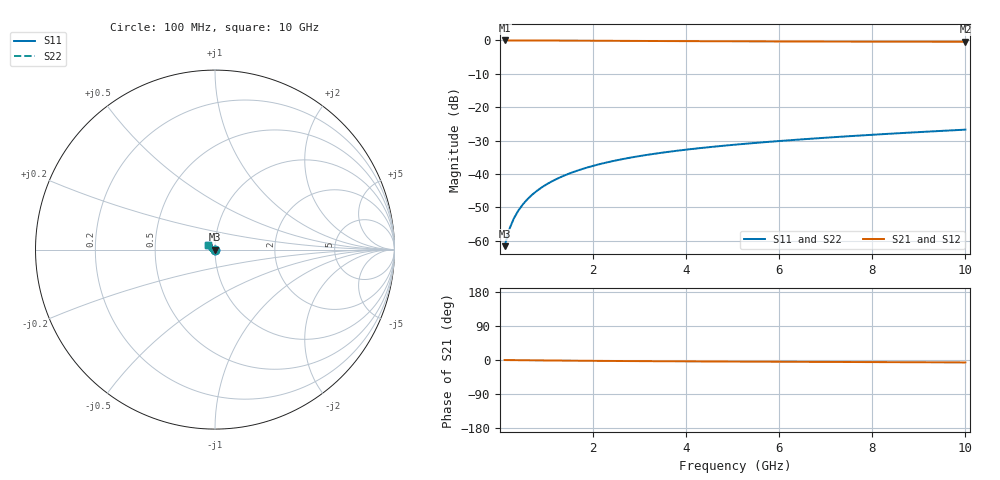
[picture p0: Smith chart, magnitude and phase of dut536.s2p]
! Touchstone file exported from HFSS 2024.1.0
!  File:  C:/UserFiles/LocalFiles/RDL_TSV_Batchsim/temp_TSV1_536_1779704960.aedt
!  Generated:  06:37:05 PM May 25, 2026
!  Design:  TSV1
!  Project:  temp_TSV1_536_1779704960
!  Setup:  Setup1
!  Solution:  Sweep
! Variables:
!  dtsv = 5.99um
!  hbump = 3um
!  htsv = 97.45um
!  lrdl = 252.1521522um
!  p = 40
!  p1 = 51.37um
!  t = 500um
!  trdl = 3um
!  wrdl = 24.89489489um
# GHz S MA R 50.000000
! Terminal data exported
! Port[1] = TSV22_T1
! Port[2] = TSV22_T2
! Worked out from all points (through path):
!   100 points, 100 MHz to 10 GHz, reference 50 ohm
!   highest |S21| = 0.00 dB at 100 MHz (marker M1); lowest = -0.4 dB at 10 GHz (marker M2)
!   lowest |S11| = -61.6 dB at 100 MHz (marker M3), VSWR 1.00, Z = 50 - j0.072 ohm
!   |S11| at or under -10 dB: start of sweep to end of sweep
!   |S22| runs from -61.6 to -26.7 dB; largest |S21 - S12| = 5.1e-15
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0.1  0.0008338 -59.6  0.9995 -0.1  0.9995 -0.1  0.0008338 -59.6
! Gamma 0 0 0 0
! Port Impedance 50 0 50 0
0.2  0.001491 -76.8  0.9994 -0.2  0.9994 -0.2  0.001491 -76.8
0.3  0.002182 -84.7  0.9993 -0.4  0.9993 -0.4  0.002182 -84.7
0.4  0.002879 -89.9  0.9991 -0.5  0.9991 -0.5  0.002879 -89.9
0.5  0.003578 -93.9  0.9988 -0.6  0.9988 -0.6  0.003578 -93.9
0.6  0.004274 -97.3  0.9985 -0.7  0.9985 -0.7  0.004274 -97.3
0.7  0.004966 -100.4  0.9982 -0.8  0.9982 -0.8  0.004966 -100.4
0.8  0.005653 -103.2  0.9978 -1.0  0.9978 -1.0  0.005653 -103.2
0.9  0.006334 -105.9  0.9973 -1.1  0.9973 -1.1  0.006334 -105.9
1.1  0.007674 -110.9  0.9963 -1.3  0.9963 -1.3  0.007674 -110.9
1.4  0.009623 -117.9  0.9945 -1.6  0.9945 -1.6  0.009623 -117.9
1.6  0.01088 -122.3  0.9932 -1.8  0.9932 -1.8  0.01088 -122.3
1.8  0.01209 -126.5  0.9918 -2.0  0.9918 -2.0  0.01209 -126.5
2.1  0.01384 -132.5  0.9896 -2.3  0.9896 -2.3  0.01384 -132.5
2.5  0.01604 -140.1  0.9865 -2.6  0.9865 -2.6  0.01604 -140.1
2.9  0.01811 -147.1  0.9835 -2.9  0.9835 -2.9  0.01811 -147.1
3.4  0.02051 -155.1  0.9799 -3.2  0.9799 -3.2  0.02051 -155.1
4.2  0.02405 -166.5  0.9748 -3.7  0.9748 -3.7  0.02405 -166.5
5.1  0.02774 -177.5  0.97 -4.2  0.97 -4.2  0.02774 -177.5
6.7  0.03389 166.7  0.9636 -4.9  0.9636 -4.9  0.03389 166.7
8.4  0.04024 153.9  0.959 -5.7  0.959 -5.7  0.04024 153.9
10  0.04621 144.5  0.9558 -6.4  0.9558 -6.4  0.04622 144.5
